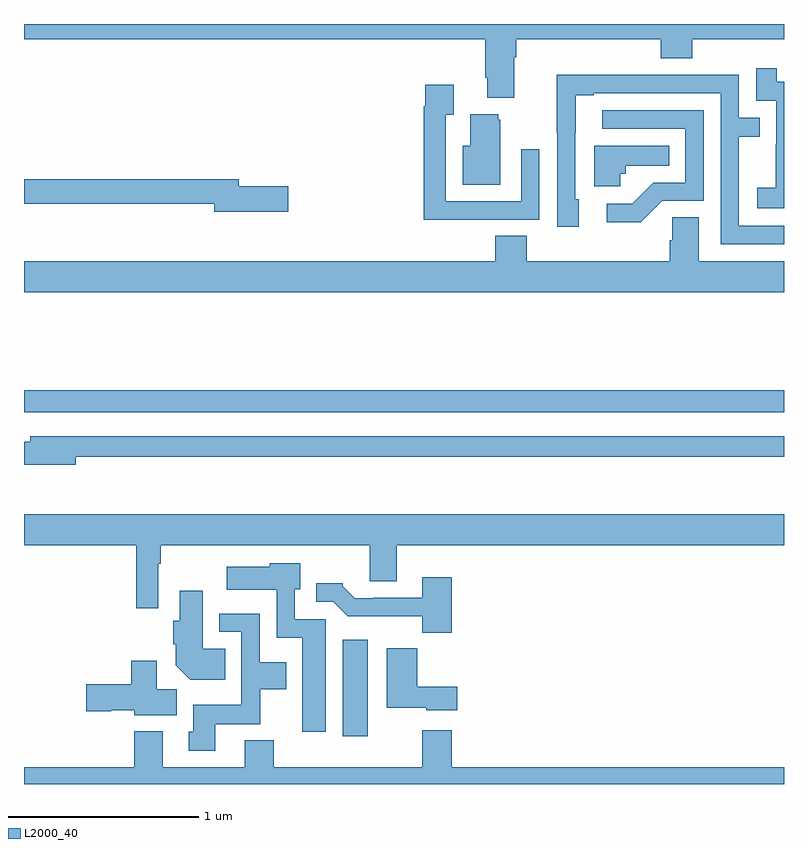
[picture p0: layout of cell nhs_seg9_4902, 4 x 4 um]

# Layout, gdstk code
import gdstk
lib = gdstk.Library(unit=1e-6, precision=1e-09)
def R(c, l, rs):  # rectangles x0, y0, x1, y1
    for r in rs: c.add(gdstk.rectangle(r[:2], r[2:], *l))
def P(c, l, *ps):  # polygons
    for p in ps: c.add(gdstk.Polygon(p, *l))
L2000_40 = (2000, 40)

nhs_seg9_4902 = lib.new_cell('nhs_seg9_4902')
R(nhs_seg9_4902, L2000_40, [(396.677,1192.752,396.808,1193.26), (395,1194.456,399,1194.572)])
P(nhs_seg9_4902, L2000_40, [(395,1196.42),(397.427,1196.42),(397.427,1196.218),(397.439,1196.218),(397.439,1196.111),(397.579,1196.111),(397.579,1196.324),(397.592,1196.324),(397.592,1196.42),(398.351,1196.42),(398.351,1196.321),(398.516,1196.321),(398.516,1196.42),(399,1196.42),(399,1196.5),(395,1196.5)],
  [(399,1196.196),(398.962,1196.196),(398.962,1196.266),(398.853,1196.266),(398.853,1196.097),(398.958,1196.097),(398.958,1195.868),(398.957,1195.868),(398.957,1195.639),(398.859,1195.639),(398.859,1195.529),(399,1195.529)],
  [(399,1195.437),(398.763,1195.437),(398.763,1195.906),(398.873,1195.906),(398.873,1196.007),(398.763,1196.007),(398.763,1196.232),(398.267,1196.232),(398.267,1196.234),(397.804,1196.234),(397.804,1195.927),(397.806,1195.927),(397.806,1195.434),(397.921,1195.434),(397.921,1195.578),(397.902,1195.578),(397.902,1195.927),(397.903,1195.927),(397.903,1196.124),(397.999,1196.124),(397.999,1196.136),(398.667,1196.136),(398.667,1195.341),(399,1195.341)],
  [(397.397,1195.47),(397.713,1195.47),(397.713,1195.84),(397.617,1195.84),(397.617,1195.566),(397.221,1195.566),(397.221,1196.023),(397.261,1196.023),(397.261,1196.179),(397.113,1196.179),(397.113,1196.066),(397.105,1196.066),(397.105,1195.469),(397.397,1195.469)],
  [(398.358,1195.569),(398.577,1195.569),(398.577,1196.046),(398.043,1196.046),(398.043,1195.95),(398.481,1195.95),(398.481,1195.665),(398.312,1195.665),(398.201,1195.554),(398.067,1195.554),(398.067,1195.457),(398.245,1195.457)],
  [(397.507,1195.995),(397.496,1195.995),(397.496,1196.026),(397.349,1196.026),(397.349,1195.858),(397.31,1195.858),(397.31,1195.655),(397.507,1195.655)],
  [(398.139,1195.713),(398.166,1195.713),(398.166,1195.754),(398.396,1195.754),(398.396,1195.858),(398,1195.858),(398,1195.646),(398.139,1195.646)],
  [(396.391,1195.646),(396.13,1195.646),(396.13,1195.682),(395,1195.682),(395,1195.554),(396.002,1195.554),(396.002,1195.511),(396.391,1195.511)],
  [(399,1195.252),(398.551,1195.252),(398.551,1195.484),(398.412,1195.484),(398.412,1195.361),(398.399,1195.361),(398.399,1195.252),(397.646,1195.252),(397.646,1195.385),(397.481,1195.385),(397.481,1195.252),(395,1195.252),(395,1195.088),(399,1195.088)],
  [(395.272,1194.222),(399,1194.222),(399,1194.33),(395.033,1194.33),(395.033,1194.301),(395,1194.301),(395,1194.179),(395.272,1194.179)],
  [(395.706,1193.66),(395.719,1193.66),(395.719,1193.756),(396.821,1193.756),(396.821,1193.566),(396.961,1193.566),(396.961,1193.756),(399,1193.756),(399,1193.92),(395,1193.92),(395,1193.756),(395.59,1193.756),(395.59,1193.424),(395.706,1193.424)],
  [(396.589,1193.367),(396.426,1193.367),(396.426,1193.526),(396.454,1193.526),(396.454,1193.662),(396.294,1193.662),(396.294,1193.644),(396.066,1193.644),(396.066,1193.522),(396.33,1193.522),(396.33,1193.27),(396.464,1193.27),(396.464,1192.776),(396.589,1192.776)],
  [(397.25,1193.587),(397.097,1193.587),(397.097,1193.481),(396.841,1193.481),(396.841,1193.478),(396.742,1193.478),(396.678,1193.542),(396.678,1193.557),(396.539,1193.557),(396.539,1193.46),(396.627,1193.46),(396.703,1193.384),(397.095,1193.384),(397.095,1193.297),(397.25,1193.297)],
  [(396.059,1193.212),(395.941,1193.212),(395.941,1193.518),(395.819,1193.518),(395.819,1193.358),(395.786,1193.358),(395.786,1193.236),(395.798,1193.236),(395.798,1193.126),(395.876,1193.048),(396.059,1193.048)],
  [(396.007,1192.814),(396.243,1192.814),(396.243,1193),(396.379,1193),(396.379,1193.14),(396.24,1193.14),(396.24,1193.397),(396.027,1193.397),(396.027,1193.301),(396.144,1193.301),(396.144,1192.918),(395.891,1192.918),(395.891,1192.776),(395.867,1192.776),(395.867,1192.674),(396.007,1192.674)],
  [(397.279,1193.011),(397.07,1193.011),(397.07,1193.215),(396.908,1193.215),(396.908,1192.901),(397.116,1192.901),(397.116,1192.889),(397.279,1192.889)],
  [(395.803,1193),(395.698,1193),(395.698,1193.149),(395.564,1193.149),(395.564,1193.024),(395.328,1193.024),(395.328,1192.882),(395.46,1192.882),(395.46,1192.889),(395.58,1192.889),(395.58,1192.862),(395.803,1192.862)],
  [(399,1192.588),(397.25,1192.588),(397.25,1192.783),(397.097,1192.783),(397.097,1192.588),(396.314,1192.588),(396.314,1192.729),(396.161,1192.729),(396.161,1192.588),(395.731,1192.588),(395.731,1192.777),(395.579,1192.777),(395.579,1192.588),(395,1192.588),(395,1192.5),(399,1192.5)])

lib.write_gds('nhs_seg9_4902.gds')
